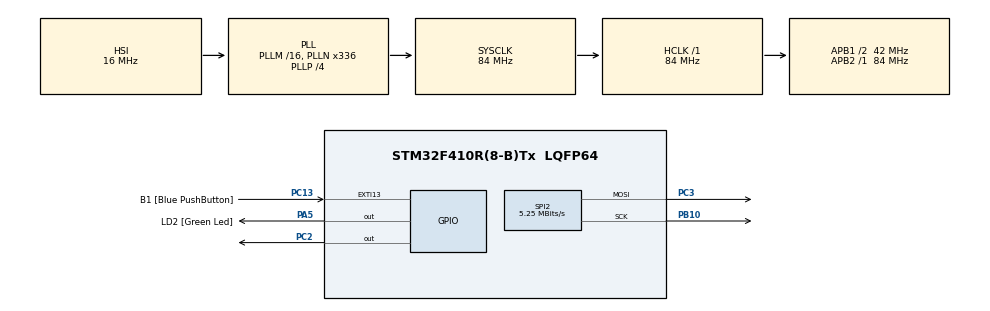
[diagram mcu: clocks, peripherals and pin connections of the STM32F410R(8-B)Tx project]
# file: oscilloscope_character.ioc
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Mcu.Family=STM32F4
Mcu.Name=STM32F410R(8-B)Tx
Mcu.Package=LQFP64
NVIC.PriorityGroup=NVIC_PRIORITYGROUP_0
PA13.GPIO_Label=TMS
PA13.Mode=Serial_Wire
PA13.Signal=SYS_JTMS-SWDIO
PA14.GPIO_Label=TCK
PA14.Mode=Serial_Wire
PA14.Signal=SYS_JTCK-SWCLK
PA2.GPIO_Label=USART_TX
PA2.GPIO_Mode=GPIO_MODE_AF_PP
PA2.GPIO_PuPd=GPIO_NOPULL
PA2.GPIO_Speed=GPIO_SPEED_FREQ_VERY_HIGH
PA2.Signal=USART2_TX
PA3.GPIO_Label=USART_RX
PA3.GPIO_Mode=GPIO_MODE_AF_PP
PA3.GPIO_PuPd=GPIO_NOPULL
PA3.GPIO_Speed=GPIO_SPEED_FREQ_VERY_HIGH
PA3.Signal=USART2_RX
PA5.GPIO_Label=LD2 [Green Led]
PA5.GPIO_ModeDefaultOutputPP=GPIO_MODE_OUTPUT_PP
PA5.GPIO_PuPd=GPIO_NOPULL
PA5.GPIO_Speed=GPIO_SPEED_FREQ_LOW
PA5.Signal=GPIO_Output
PB10.Mode=TX_Only_Simplex_Unidirect_Master
PB10.Signal=SPI2_SCK
PB3.GPIO_Label=SWO
PB3.Signal=SYS_JTDO-SWO
PC13-ANTI_TAMP.GPIO_Label=B1 [Blue PushButton]
PC13-ANTI_TAMP.GPIO_ModeDefaultEXTI=GPIO_MODE_IT_FALLING
PC13-ANTI_TAMP.GPIO_PuPd=GPIO_NOPULL
PC13-ANTI_TAMP.Signal=GPXTI13
PC14-OSC32_IN.Signal=RCC_OSC32_IN
PC15-OSC32_OUT.Signal=RCC_OSC32_OUT
PC2.GPIO_Speed=GPIO_SPEED_FREQ_VERY_HIGH
PC2.PinState=GPIO_PIN_SET
PC2.Signal=GPIO_Output
PC3.Mode=TX_Only_Simplex_Unidirect_Master
PC3.Signal=SPI2_MOSI
PH0\ -\ OSC_IN.Signal=RCC_OSC_IN
PH1\ -\ OSC_OUT.Signal=RCC_OSC_OUT
ProjectManager.HeapSize=0x200
ProjectManager.StackSize=0x400
ProjectManager.TargetToolchain=MDK-ARM V5
RCC.48MHZClocksFreq_Value=84000000
RCC.AHBFreq_Value=84000000
RCC.APB1CLKDivider=RCC_HCLK_DIV2
RCC.APB1Freq_Value=42000000
RCC.APB1TimFreq_Value=84000000
RCC.APB2Freq_Value=84000000
RCC.APB2TimFreq_Value=84000000
RCC.CortexFreq_Value=84000000
RCC.FLatency-AdvancedSettings=FLASH_LATENCY_2
RCC.HCLKFreq_Value=84000000
RCC.HSE_VALUE=8000000
RCC.HSI_VALUE=16000000
RCC.LSE_VALUE=32768
RCC.PLLN=336
RCC.PLLP=RCC_PLLP_DIV4
RCC.SYSCLKFreq_VALUE=84000000
RCC.SYSCLKSource=RCC_SYSCLKSOURCE_PLLCLK
RCC.VCOOutputFreq_Value=336000000
SPI2.BaudRatePrescaler=SPI_BAUDRATEPRESCALER_8
SPI2.CLKPhase=SPI_PHASE_2EDGE
SPI2.CalculateBaudRate=5.25 MBits/s
SPI2.DataSize=SPI_DATASIZE_16BIT
SPI2.Mode=SPI_MODE_MASTER
board=NUCLEO-F410RB

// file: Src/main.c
/**
  ******************************************************************************
  * File Name          : main.c
  * Description        : Main program body
  ******************************************************************************
  *
  * COPYRIGHT(c) 2016 STMicroelectronics
  *
  * Redistribution and use in source and binary forms, with or without modification,
  * are permitted provided that the following conditions are met:
  *   1. Redistributions of source code must retain the above copyright notice,
  *      this list of conditions and the following disclaimer.
  *   2. Redistributions in binary form must reproduce the above copyright notice,
  *      this list of conditions and the following disclaimer in the documentation
  *      and/or other materials provided with the distribution.
  *   3. Neither the name of STMicroelectronics nor the names of its contributors
  *      may be used to endorse or promote products derived from this software
  *      without specific prior written permission.
  *
  * THIS SOFTWARE IS PROVIDED BY THE COPYRIGHT HOLDERS AND CONTRIBUTORS "AS IS"
  * AND ANY EXPRESS OR IMPLIED WARRANTIES, INCLUDING, BUT NOT LIMITED TO, THE
  * IMPLIED WARRANTIES OF MERCHANTABILITY AND FITNESS FOR A PARTICULAR PURPOSE ARE
  * DISCLAIMED. IN NO EVENT SHALL THE COPYRIGHT HOLDER OR CONTRIBUTORS BE LIABLE
  * FOR ANY DIRECT, INDIRECT, INCIDENTAL, SPECIAL, EXEMPLARY, OR CONSEQUENTIAL
  * DAMAGES (INCLUDING, BUT NOT LIMITED TO, PROCUREMENT OF SUBSTITUTE GOODS OR
  * SERVICES; LOSS OF USE, DATA, OR PROFITS; OR BUSINESS INTERRUPTION) HOWEVER
  * CAUSED AND ON ANY THEORY OF LIABILITY, WHETHER IN CONTRACT, STRICT LIABILITY,
  * OR TORT (INCLUDING NEGLIGENCE OR OTHERWISE) ARISING IN ANY WAY OUT OF THE USE
  * OF THIS SOFTWARE, EVEN IF ADVISED OF THE POSSIBILITY OF SUCH DAMAGE.
  *
  ******************************************************************************
  */
#include "stm32f4xx_hal.h"
/* USER CODE BEGIN Includes */
#include "display.h"
/* USER CODE END Includes */

SPI_HandleTypeDef hspi2;

/* USER CODE BEGIN PV */
/* Private variables ---------------------------------------------------------*/

/* USER CODE END PV */

void SystemClock_Config(void);
void Error_Handler(void);
static void MX_GPIO_Init(void);
static void MX_SPI2_Init(void);

/* USER CODE BEGIN PFP */
/* Private function prototypes -----------------------------------------------*/

/* USER CODE END PFP */

/* USER CODE BEGIN 0 */
void dac_set_voltage(uint8_t x_voltage,uint8_t y_voltage)
{
    uint16_t x = x_voltage | (0x00<<8); //DAC A, RNG =0
    uint16_t y = y_voltage | (0x02<<8); //DAC B, RNG =0
    uint8_t i;
    HAL_SPI_Transmit(&hspi2,(uint8_t *)&x,1,HAL_MAX_DELAY);
    HAL_GPIO_WritePin(GPIOC,GPIO_PIN_2,GPIO_PIN_RESET);
    for(i=0;i<10;++i) __nop();
    HAL_GPIO_WritePin(GPIOC,GPIO_PIN_2,GPIO_PIN_SET);
    HAL_SPI_Transmit(&hspi2,(uint8_t *)&y,1,HAL_MAX_DELAY);
    HAL_GPIO_WritePin(GPIOC,GPIO_PIN_2,GPIO_PIN_RESET);
    for(i=0;i<10;++i) __nop();
    HAL_GPIO_WritePin(GPIOC,GPIO_PIN_2,GPIO_PIN_SET);
}
/* USER CODE END 0 */

int main(void)
{

  /* MCU Configuration----------------------------------------------------------*/

  /* Reset of all peripherals, Initializes the Flash interface and the Systick. */
  HAL_Init();

  /* Configure the system clock */
  SystemClock_Config();

  /* Initialize all configured peripherals */
  MX_GPIO_Init();
  MX_SPI2_Init();

  /* USER CODE BEGIN 2 */
  uint8_t str_happy[]="yi happy";
  uint8_t str_birthday[]="birthday";
  HAL_GPIO_WritePin(GPIOC,2,GPIO_PIN_SET);
  display_init(dac_set_voltage);

  /* USER CODE END 2 */

  /* Infinite loop */
  while (1)
  {

  /* USER CODE BEGIN 3 */
    display(str_happy,20,150,3);
    display(str_birthday,20,80,3);
  }
  /* USER CODE END 3 */

}

/** System Clock Configuration
*/
void SystemClock_Config(void)
{

  RCC_OscInitTypeDef RCC_OscInitStruct;
  RCC_ClkInitTypeDef RCC_ClkInitStruct;

  __HAL_RCC_PWR_CLK_ENABLE();

  __HAL_PWR_VOLTAGESCALING_CONFIG(PWR_REGULATOR_VOLTAGE_SCALE1);

  RCC_OscInitStruct.OscillatorType = RCC_OSCILLATORTYPE_HSI;
  RCC_OscInitStruct.HSIState = RCC_HSI_ON;
  RCC_OscInitStruct.HSICalibrationValue = 16;
  RCC_OscInitStruct.PLL.PLLState = RCC_PLL_ON;
  RCC_OscInitStruct.PLL.PLLSource = RCC_PLLSOURCE_HSI;
  RCC_OscInitStruct.PLL.PLLM = 16;
  RCC_OscInitStruct.PLL.PLLN = 336;
  RCC_OscInitStruct.PLL.PLLP = RCC_PLLP_DIV4;
  RCC_OscInitStruct.PLL.PLLQ = 4;
  RCC_OscInitStruct.PLL.PLLR = 2;
  if (HAL_RCC_OscConfig(&RCC_OscInitStruct) != HAL_OK)
  {
    Error_Handler();
  }

  RCC_ClkInitStruct.ClockType = RCC_CLOCKTYPE_HCLK|RCC_CLOCKTYPE_SYSCLK
                              |RCC_CLOCKTYPE_PCLK1|RCC_CLOCKTYPE_PCLK2;
  RCC_ClkInitStruct.SYSCLKSource = RCC_SYSCLKSOURCE_PLLCLK;
  RCC_ClkInitStruct.AHBCLKDivider = RCC_SYSCLK_DIV1;
  RCC_ClkInitStruct.APB1CLKDivider = RCC_HCLK_DIV2;
  RCC_ClkInitStruct.APB2CLKDivider = RCC_HCLK_DIV1;
  if (HAL_RCC_ClockConfig(&RCC_ClkInitStruct, FLASH_LATENCY_2) != HAL_OK)
  {
    Error_Handler();
  }

  HAL_SYSTICK_Config(HAL_RCC_GetHCLKFreq()/1000);

  HAL_SYSTICK_CLKSourceConfig(SYSTICK_CLKSOURCE_HCLK);

  /* SysTick_IRQn interrupt configuration */
  HAL_NVIC_SetPriority(SysTick_IRQn, 0, 0);
}

/* SPI2 init function */
static void MX_SPI2_Init(void)
{

  hspi2.Instance = SPI2;
  hspi2.Init.Mode = SPI_MODE_MASTER;
  hspi2.Init.Direction = SPI_DIRECTION_2LINES;
  hspi2.Init.DataSize = SPI_DATASIZE_16BIT;
  hspi2.Init.CLKPolarity = SPI_POLARITY_LOW;
  hspi2.Init.CLKPhase = SPI_PHASE_2EDGE;
  hspi2.Init.NSS = SPI_NSS_SOFT;
  hspi2.Init.BaudRatePrescaler = SPI_BAUDRATEPRESCALER_8;
  hspi2.Init.FirstBit = SPI_FIRSTBIT_MSB;
  hspi2.Init.TIMode = SPI_TIMODE_DISABLE;
  hspi2.Init.CRCCalculation = SPI_CRCCALCULATION_DISABLE;
  hspi2.Init.CRCPolynomial = 15;
  if (HAL_SPI_Init(&hspi2) != HAL_OK)
  {
    Error_Handler();
  }

}

/** Configure pins as
        * Analog
        * Input
        * Output
        * EVENT_OUT
        * EXTI
     PA2   ------> USART2_TX
     PA3   ------> USART2_RX
*/
static void MX_GPIO_Init(void)
{

  GPIO_InitTypeDef GPIO_InitStruct;

  /* GPIO Ports Clock Enable */
  __HAL_RCC_GPIOC_CLK_ENABLE();
  __HAL_RCC_GPIOH_CLK_ENABLE();
  __HAL_RCC_GPIOA_CLK_ENABLE();
  __HAL_RCC_GPIOB_CLK_ENABLE();

  /*Configure GPIO pin : B1_Pin */
  GPIO_InitStruct.Pin = B1_Pin;
  GPIO_InitStruct.Mode = GPIO_MODE_IT_FALLING;
  GPIO_InitStruct.Pull = GPIO_NOPULL;
  HAL_GPIO_Init(B1_GPIO_Port, &GPIO_InitStruct);

  /*Configure GPIO pin : PC2 */
  GPIO_InitStruct.Pin = GPIO_PIN_2;
  GPIO_InitStruct.Mode = GPIO_MODE_OUTPUT_PP;
  GPIO_InitStruct.Pull = GPIO_NOPULL;
  GPIO_InitStruct.Speed = GPIO_SPEED_FREQ_VERY_HIGH;
  HAL_GPIO_Init(GPIOC, &GPIO_InitStruct);

  /*Configure GPIO pins : USART_TX_Pin USART_RX_Pin */
  GPIO_InitStruct.Pin = USART_TX_Pin|USART_RX_Pin;
  GPIO_InitStruct.Mode = GPIO_MODE_AF_PP;
  GPIO_InitStruct.Pull = GPIO_NOPULL;
  GPIO_InitStruct.Speed = GPIO_SPEED_FREQ_VERY_HIGH;
  GPIO_InitStruct.Alternate = GPIO_AF7_USART2;
  HAL_GPIO_Init(GPIOA, &GPIO_InitStruct);

  /*Configure GPIO pin : LD2_Pin */
  GPIO_InitStruct.Pin = LD2_Pin;
  GPIO_InitStruct.Mode = GPIO_MODE_OUTPUT_PP;
  GPIO_InitStruct.Pull = GPIO_NOPULL;
  GPIO_InitStruct.Speed = GPIO_SPEED_FREQ_LOW;
  HAL_GPIO_Init(LD2_GPIO_Port, &GPIO_InitStruct);

  /*Configure GPIO pin Output Level */
  HAL_GPIO_WritePin(GPIOC, GPIO_PIN_2, GPIO_PIN_SET);

  /*Configure GPIO pin Output Level */
  HAL_GPIO_WritePin(LD2_GPIO_Port, LD2_Pin, GPIO_PIN_RESET);

}

void Error_Handler(void)
{
  while(1)
  {
  }
}

/************************ (C) COPYRIGHT STMicroelectronics *****END OF FILE****/
